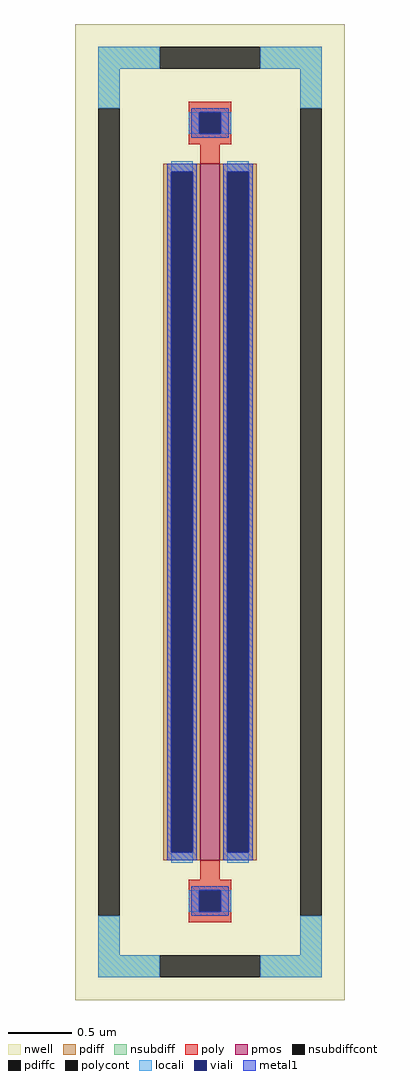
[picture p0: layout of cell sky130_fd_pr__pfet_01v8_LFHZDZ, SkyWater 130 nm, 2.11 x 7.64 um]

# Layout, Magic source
magic
tech sky130A
magscale 1 2
<< nwell >>
rect -211 -764 211 764
<< pmos >>
rect -15 -545 15 545
<< pdiff >>
rect -73 533 -15 545
rect -73 -533 -61 533
rect -27 -533 -15 533
rect -73 -545 -15 -533
rect 15 533 73 545
rect 15 -533 27 533
rect 61 -533 73 533
rect 15 -545 73 -533
<< pdiffc >>
rect -61 -533 -27 533
rect 27 -533 61 533
<< nsubdiff >>
rect -175 694 -79 728
rect 79 694 175 728
rect -175 632 -141 694
rect 141 632 175 694
rect -175 -694 -141 -632
rect 141 -694 175 -632
rect -175 -728 -79 -694
rect 79 -728 175 -694
<< nsubdiffcont >>
rect -79 694 79 728
rect -175 -632 -141 632
rect 141 -632 175 632
rect -79 -728 79 -694
<< poly >>
rect -33 626 33 642
rect -33 592 -17 626
rect 17 592 33 626
rect -33 576 33 592
rect -15 545 15 576
rect -15 -576 15 -545
rect -33 -592 33 -576
rect -33 -626 -17 -592
rect 17 -626 33 -592
rect -33 -642 33 -626
<< polycont >>
rect -17 592 17 626
rect -17 -626 17 -592
<< locali >>
rect -175 694 -79 728
rect 79 694 175 728
rect -175 632 -141 694
rect 141 632 175 694
rect -33 592 -17 626
rect 17 592 33 626
rect -61 533 -27 549
rect -61 -549 -27 -533
rect 27 533 61 549
rect 27 -549 61 -533
rect -33 -626 -17 -592
rect 17 -626 33 -592
rect -175 -694 -141 -632
rect 141 -694 175 -632
rect -175 -728 -79 -694
rect 79 -728 175 -694
<< viali >>
rect -17 592 17 626
rect -61 -533 -27 533
rect 27 -533 61 533
rect -17 -626 17 -592
<< metal1 >>
rect -29 626 29 632
rect -29 592 -17 626
rect 17 592 29 626
rect -29 586 29 592
rect -67 533 -21 545
rect -67 -533 -61 533
rect -27 -533 -21 533
rect -67 -545 -21 -533
rect 21 533 67 545
rect 21 -533 27 533
rect 61 -533 67 533
rect 21 -545 67 -533
rect -29 -592 29 -586
rect -29 -626 -17 -592
rect 17 -626 29 -592
rect -29 -632 29 -626
<< properties >>
string FIXED_BBOX -158 -711 158 711
string gencell sky130_fd_pr__pfet_01v8
string library sky130
string parameters w 5.445 l 0.15 m 1 nf 1 diffcov 100 polycov 100 guard 1 glc 1 grc 1 gtc 1 gbc 1 tbcov 100 rlcov 100 topc 1 botc 1 poverlap 0 doverlap 1 lmin 0.15 wmin 0.42 compatible {sky130_fd_pr__pfet_01v8  sky130_fd_pr__pfet_01v8_lvt sky130_fd_pr__pfet_01v8_hvt  sky130_fd_pr__pfet_g5v0d10v5} full_metal 1 viasrc 100 viadrn 100 viagate 100 viagb 0 viagr 0 viagl 0 viagt 0
<< end >>
